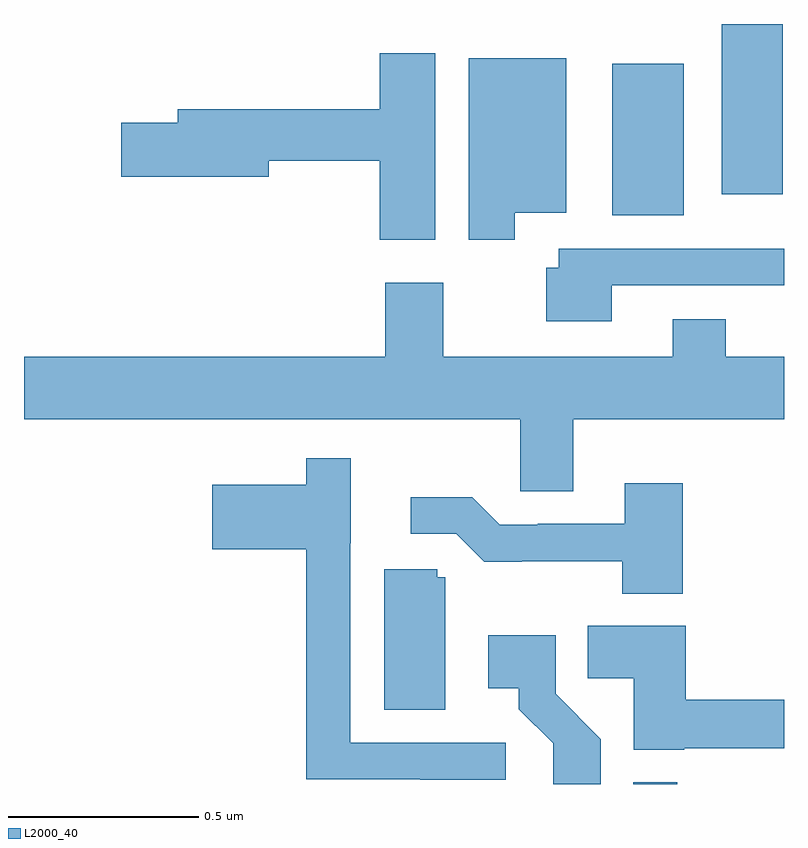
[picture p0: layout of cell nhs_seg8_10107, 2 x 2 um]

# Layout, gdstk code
import gdstk
lib = gdstk.Library(unit=1e-6, precision=1e-09)
def R(c, l, rs):  # rectangles x0, y0, x1, y1
    for r in rs: c.add(gdstk.rectangle(r[:2], r[2:], *l))
def P(c, l, *ps):  # polygons
    for p in ps: c.add(gdstk.Polygon(p, *l))
L2000_40 = (2000, 40)

nhs_seg8_10107 = lib.new_cell('nhs_seg8_10107')
R(nhs_seg8_10107, L2000_40, [(246.603,1088.9,246.719,1088.905), (246.548,1090.397,246.736,1090.795), (246.836,1090.452,246.997,1090.9)])
P(nhs_seg8_10107, L2000_40, [(246.082,1090.823),(245.936,1090.823),(245.936,1090.676),(245.405,1090.676),(245.405,1090.64),(245.256,1090.64),(245.256,1090.498),(245.644,1090.498),(245.644,1090.54),(245.936,1090.54),(245.936,1090.332),(246.082,1090.332)],
  [(246.292,1090.403),(246.427,1090.403),(246.427,1090.81),(246.17,1090.81),(246.17,1090.332),(246.292,1090.332)],
  [(246.547,1090.212),(247,1090.212),(247,1090.308),(246.407,1090.308),(246.407,1090.258),(246.374,1090.258),(246.374,1090.118),(246.547,1090.118)],
  [(246.445,1089.86),(247,1089.86),(247,1090.024),(246.847,1090.024),(246.847,1090.123),(246.707,1090.123),(246.707,1090.024),(246.103,1090.024),(246.103,1090.219),(245.951,1090.219),(245.951,1090.024),(245,1090.024),(245,1089.86),(246.306,1089.86),(246.306,1089.67),(246.445,1089.67)],
  [(246.268,1089.009),(245.859,1089.009),(245.859,1089.534),(245.86,1089.534),(245.86,1089.757),(245.743,1089.757),(245.743,1089.688),(245.496,1089.688),(245.496,1089.518),(245.743,1089.518),(245.743,1088.913),(246.043,1088.913),(246.043,1088.911),(246.268,1088.911)],
  [(246.734,1089.691),(246.581,1089.691),(246.581,1089.585),(246.352,1089.585),(246.352,1089.582),(246.252,1089.582),(246.179,1089.655),(246.018,1089.655),(246.018,1089.558),(246.138,1089.558),(246.211,1089.485),(246.31,1089.485),(246.31,1089.486),(246.574,1089.486),(246.574,1089.401),(246.734,1089.401)],
  [(246.109,1089.444),(246.087,1089.444),(246.087,1089.465),(245.948,1089.465),(245.948,1089.096),(246.109,1089.096)],
  [(246.738,1088.994),(247,1088.994),(247,1089.122),(246.742,1089.122),(246.742,1089.316),(246.484,1089.316),(246.484,1089.178),(246.605,1089.178),(246.605,1088.99),(246.738,1088.99)],
  [(246.518,1089.018),(246.399,1089.137),(246.399,1089.292),(246.222,1089.292),(246.222,1089.152),(246.302,1089.152),(246.302,1089.097),(246.393,1089.007),(246.393,1088.9),(246.518,1088.9)])

lib.write_gds('nhs_seg8_10107.gds')
